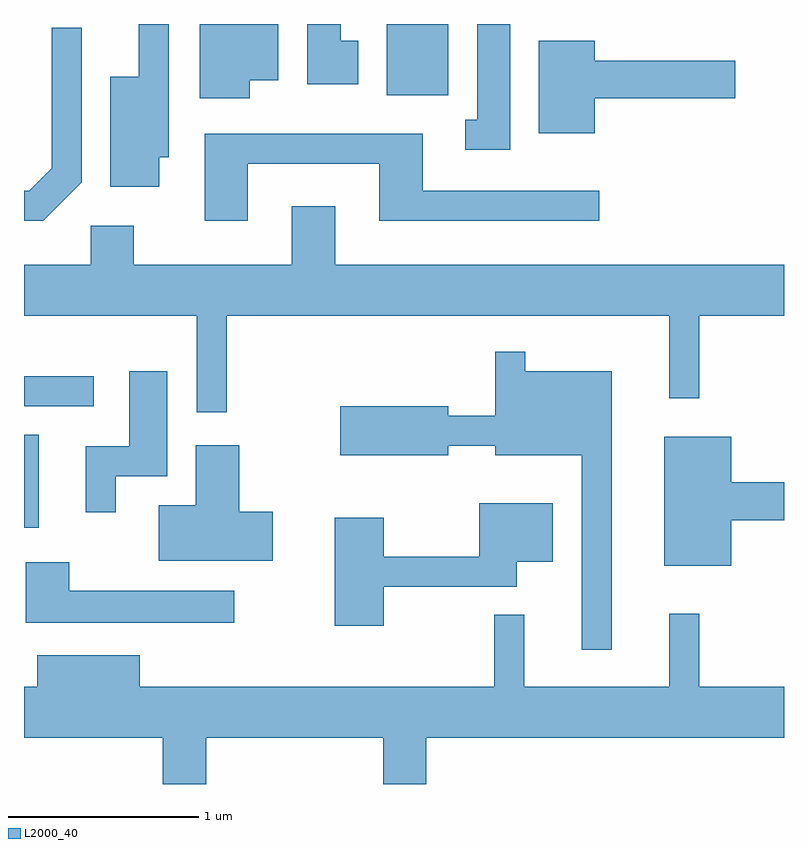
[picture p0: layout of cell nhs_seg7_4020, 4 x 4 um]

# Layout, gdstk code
import gdstk
lib = gdstk.Library(unit=1e-6, precision=1e-09)
def R(c, l, rs):  # rectangles x0, y0, x1, y1
    for r in rs: c.add(gdstk.rectangle(r[:2], r[2:], *l))
def P(c, l, *ps):  # polygons
    for p in ps: c.add(gdstk.Polygon(p, *l))
L2000_40 = (2000, 40)

nhs_seg7_4020 = lib.new_cell('nhs_seg7_4020')
R(nhs_seg7_4020, L2000_40, [(307.611,1757.601,307.689,1758.089), (307.611,1758.241,307.978,1758.399), (309.521,1759.876,309.844,1760.252)])
P(nhs_seg7_4020, L2000_40, [(308.324,1759.551),(308.374,1759.551),(308.374,1760.252),(308.216,1760.252),(308.216,1759.974),(308.066,1759.974),(308.066,1759.396),(308.324,1759.396)],
  [(310.169,1760.252),(309.996,1760.252),(309.996,1759.749),(309.933,1759.749),(309.933,1759.591),(310.169,1759.591)],
  [(308.799,1759.956),(308.949,1759.956),(308.949,1760.252),(308.536,1760.252),(308.536,1759.861),(308.799,1759.861)],
  [(309.369,1760.164),(309.279,1760.164),(309.279,1760.252),(309.101,1760.252),(309.101,1759.936),(309.369,1759.936)],
  [(307.914,1759.419),(307.914,1760.233),(307.756,1760.233),(307.756,1759.492),(307.639,1759.374),(307.611,1759.374),(307.611,1759.216),(307.712,1759.216)],
  [(310.614,1759.861),(311.354,1759.861),(311.354,1760.059),(310.614,1760.059),(310.614,1760.164),(310.321,1760.164),(310.321,1759.676),(310.614,1759.676)],
  [(308.789,1759.516),(309.481,1759.516),(309.481,1759.216),(310.638,1759.216),(310.638,1759.374),(309.709,1759.374),(309.709,1759.674),(308.561,1759.674),(308.561,1759.216),(308.789,1759.216)],
  [(308.679,1758.716),(311.006,1758.716),(311.006,1758.283),(311.164,1758.283),(311.164,1758.716),(311.611,1758.716),(311.611,1758.984),(309.249,1758.984),(309.249,1759.294),(309.021,1759.294),(309.021,1758.984),(308.189,1758.984),(308.189,1759.189),(307.961,1759.189),(307.961,1758.984),(307.611,1758.984),(307.611,1758.716),(308.521,1758.716),(308.521,1758.208),(308.679,1758.208)],
  [(310.704,1758.424),(310.249,1758.424),(310.249,1758.528),(310.091,1758.528),(310.091,1758.189),(309.844,1758.189),(309.844,1758.239),(309.276,1758.239),(309.276,1757.981),(309.844,1757.981),(309.844,1758.031),(310.091,1758.031),(310.091,1757.981),(310.546,1757.981),(310.546,1756.958),(310.704,1756.958)],
  [(308.094,1757.871),(308.364,1757.871),(308.364,1758.424),(308.166,1758.424),(308.166,1758.029),(307.936,1758.029),(307.936,1757.683),(308.094,1757.683)],
  [(311.334,1757.641),(311.611,1757.641),(311.611,1757.839),(311.334,1757.839),(311.334,1758.079),(310.981,1758.079),(310.981,1757.401),(311.334,1757.401)],
  [(308.919,1757.684),(308.744,1757.684),(308.744,1758.034),(308.516,1758.034),(308.516,1757.719),(308.321,1757.719),(308.321,1757.426),(308.919,1757.426)],
  [(309.504,1757.291),(310.204,1757.291),(310.204,1757.421),(310.394,1757.421),(310.394,1757.729),(310.006,1757.729),(310.006,1757.449),(309.504,1757.449),(309.504,1757.654),(309.246,1757.654),(309.246,1757.086),(309.504,1757.086)],
  [(308.718,1757.269),(307.849,1757.269),(307.849,1757.419),(307.621,1757.419),(307.621,1757.101),(308.718,1757.101)],
  [(308.569,1756.496),(309.501,1756.496),(309.501,1756.252),(309.729,1756.252),(309.729,1756.496),(311.611,1756.496),(311.611,1756.764),(311.164,1756.764),(311.164,1757.148),(311.006,1757.148),(311.006,1756.764),(310.244,1756.764),(310.244,1757.143),(310.086,1757.143),(310.086,1756.764),(308.219,1756.764),(308.219,1756.929),(307.681,1756.929),(307.681,1756.764),(307.611,1756.764),(307.611,1756.496),(308.341,1756.496),(308.341,1756.252),(308.569,1756.252)])

lib.write_gds('nhs_seg7_4020.gds')
